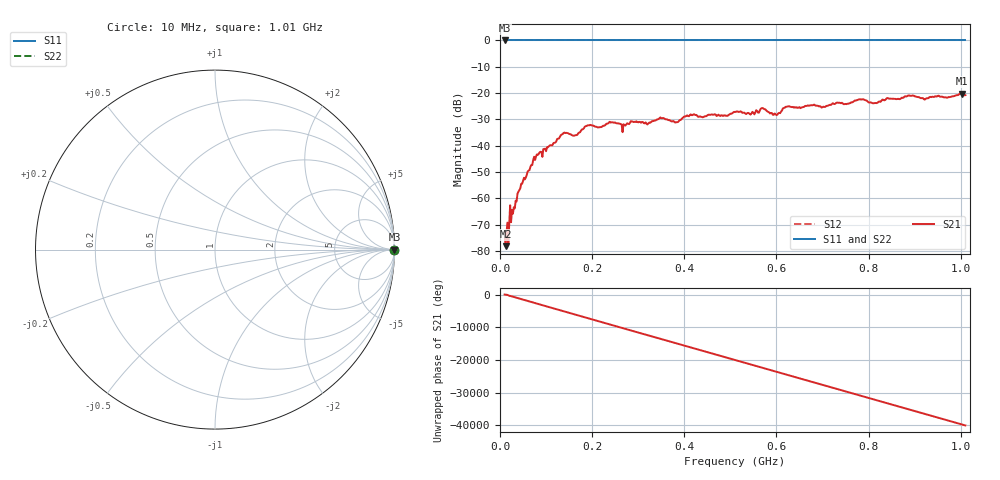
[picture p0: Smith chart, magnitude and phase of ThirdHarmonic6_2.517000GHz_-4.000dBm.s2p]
! 8/17/2025 4:55:45 AM
! C:\ANRITSUVNA\TEMP\TEMP.S2P
! CHANNEL.1
! TR.MEASUREMENT
! RAW.DATA
! RF.CORRECTION.OFF
! AVERAGING.OFF
! IF.BANDWIDTH: 5KHZ
! SWEEPTYPE:  FREQ.SWEEP(Linear)
! Reference Plane Port Info
! PORT:  PORT1  PORT2
! DISTANCE:  0  m  0  m
! TIME:  0  s  0  s
! PHASE.OFFSET:  0  deg.  0  deg.
! LOSS:  0  dB  0  dB
! REF.LOSS:  0  dB  0  dB
! REF.FREQ:  0  Hz  0  Hz
! Power Info
! POWER:  -20  dBm  -20  dBm
! EFF.POWER:  -20  dBm  -20  dBm
! SOURCE.ATTEN:  0  dB  0  dB
! TEST.ATTEN:  0  dB  0  dB
# GHZ S RI R 50.0
! FREQ.GHZ  S11RE  S11IM  S21RE  S21IM  S12RE  S12IM  S22RE  S22IM
!; PortSelection: Port_12
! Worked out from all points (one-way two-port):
!   501 points, 10 MHz to 1.01 GHz, reference 50 ohm
!   highest |S21| = -20.19 dB at 1.002 GHz (marker M1); lowest = -78.2 dB at 12 MHz (marker M2)
!   lowest |S11| = 0.0 dB at 10 MHz (marker M3)
!   |S11| at or under -10 dB: nowhere
!   |S22| runs from 0.0 to 0.0 dB; largest |S21 - S12| = 1.1
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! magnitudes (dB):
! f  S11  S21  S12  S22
! 10 MHz  0.0  -72.6  0.0  0.0
! 12 MHz  0.0  -78.2  0.0  0.0
! 16 MHz  0.0  -69.3  0.0  0.0
! 24 MHz  0.0  -69.1  0.0  0.0
! 42 MHz  0.0  -56.9  0.0  0.0
! 76 MHz  0.0  -45.4  0.0  0.0
! 136 MHz  0.0  -35.6  0.0  0.0
! 164 MHz  0.0  -36.0  0.0  0.0
! 178 MHz  0.0  -33.8  0.0  0.0
! 192 MHz  0.0  -32.3  0.0  0.0
! 270 MHz  0.0  -32.1  0.0  0.0
! 344 MHz  0.0  -29.9  0.0  0.0
! 382 MHz  0.0  -31.1  0.0  0.0
! 416 MHz  0.0  -28.4  0.0  0.0
! 510 MHz  0.0  -27.2  0.0  0.0
! 570 MHz  0.0  -25.7  0.0  0.0
! 598 MHz  0.0  -28.0  0.0  0.0
! 624 MHz  0.0  -25.1  0.0  0.0
! 678 MHz  0.0  -24.7  0.0  0.0
! 844 MHz  0.0  -22.1  0.0  0.0
! 1.002 GHz  0.0  -20.2  0.0  0.0
! 1.01 GHz  0.0  -20.8  0.0  0.0
